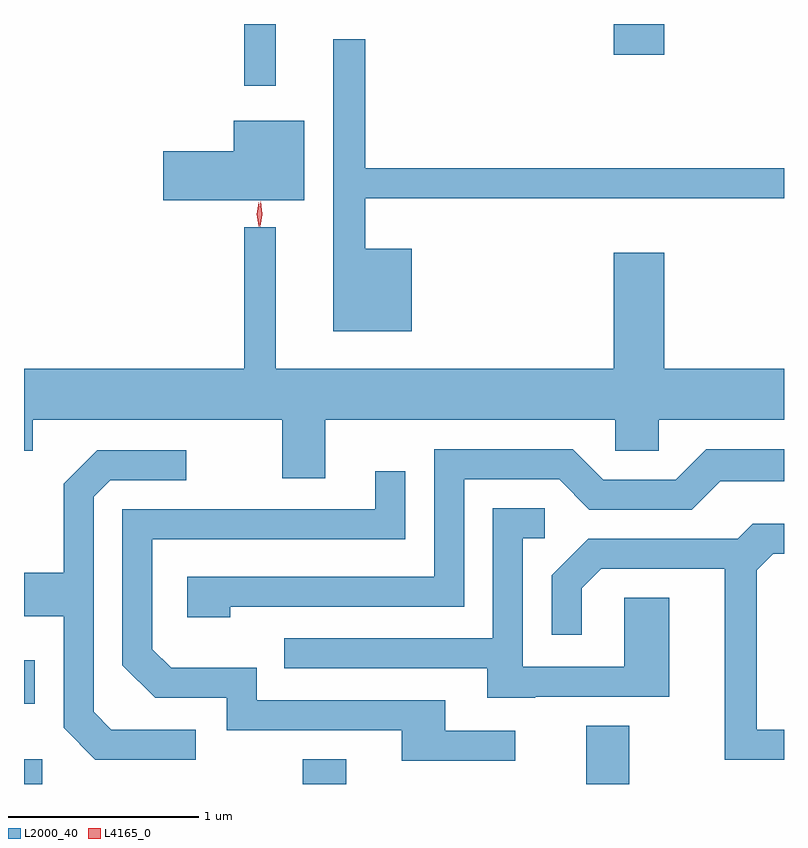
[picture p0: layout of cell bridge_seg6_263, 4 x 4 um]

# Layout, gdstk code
import gdstk
lib = gdstk.Library(unit=1e-6, precision=1e-09)
def R(c, l, rs):  # rectangles x0, y0, x1, y1
    for r in rs: c.add(gdstk.rectangle(r[:2], r[2:], *l))
def P(c, l, *ps):  # polygons
    for p in ps: c.add(gdstk.Polygon(p, *l))
L2000_40 = (2000, 40)
L4165_0 = (4165, 0)

bridge_seg6_263 = lib.new_cell('bridge_seg6_263')
R(bridge_seg6_263, L2000_40, [(1270.913,1574.758,1271.009,1574.889), (1272.381,1574.758,1272.609,1574.889), (1273.871,1574.758,1274.099,1575.064), (1270.913,1575.181,1270.969,1575.409), (1272.071,1578.433,1272.239,1578.758), (1274.016,1578.596,1274.284,1578.758)])
P(bridge_seg6_263, L2000_40, [(1272.954,1577.574),(1272.709,1577.574),(1272.709,1577.841),(1274.913,1577.841),(1274.913,1577.999),(1272.709,1577.999),(1272.709,1578.678),(1272.541,1578.678),(1272.541,1577.141),(1272.954,1577.141)],
  [(1272.389,1578.249),(1272.016,1578.249),(1272.016,1578.089),(1271.646,1578.089),(1271.646,1577.831),(1272.389,1577.831)],
  [(1272.499,1576.676),(1274.026,1576.676),(1274.026,1576.511),(1274.254,1576.511),(1274.254,1576.676),(1274.913,1576.676),(1274.913,1576.944),(1274.284,1576.944),(1274.284,1577.554),(1274.016,1577.554),(1274.016,1576.944),(1272.239,1576.944),(1272.239,1577.688),(1272.071,1577.688),(1272.071,1576.944),(1270.913,1576.944),(1270.913,1576.511),(1270.959,1576.511),(1270.959,1576.676),(1272.271,1576.676),(1272.271,1576.366),(1272.499,1576.366)],
  [(1271.999,1575.691),(1273.229,1575.691),(1273.229,1576.361),(1273.729,1576.361),(1273.889,1576.201),(1274.427,1576.201),(1274.577,1576.351),(1274.913,1576.351),(1274.913,1576.519),(1274.504,1576.519),(1274.344,1576.359),(1273.962,1576.359),(1273.802,1576.519),(1273.071,1576.519),(1273.071,1575.849),(1271.771,1575.849),(1271.771,1575.636),(1271.999,1575.636)],
  [(1271.818,1575.044),(1271.372,1575.044),(1271.279,1575.137),(1271.279,1576.269),(1271.367,1576.356),(1271.768,1576.356),(1271.768,1576.514),(1271.299,1576.514),(1271.121,1576.337),(1271.121,1575.869),(1270.913,1575.869),(1270.913,1575.641),(1271.121,1575.641),(1271.121,1575.054),(1271.289,1574.886),(1271.818,1574.886)],
  [(1273.498,1575.039),(1273.129,1575.039),(1273.129,1575.199),(1272.139,1575.199),(1272.139,1575.369),(1271.687,1575.369),(1271.589,1575.467),(1271.589,1576.046),(1272.919,1576.046),(1272.919,1576.403),(1272.761,1576.403),(1272.761,1576.204),(1271.431,1576.204),(1271.431,1575.384),(1271.604,1575.211),(1271.981,1575.211),(1271.981,1575.041),(1272.901,1575.041),(1272.901,1574.881),(1273.498,1574.881)],
  [(1273.605,1575.216),(1274.309,1575.216),(1274.309,1575.739),(1274.071,1575.739),(1274.071,1575.374),(1273.539,1575.374),(1273.539,1576.051),(1273.653,1576.051),(1273.653,1576.209),(1273.381,1576.209),(1273.381,1575.524),(1272.283,1575.524),(1272.283,1575.366),(1273.351,1575.366),(1273.351,1575.211),(1273.605,1575.211)],
  [(1274.913,1575.044),(1274.769,1575.044),(1274.769,1575.884),(1274.857,1575.971),(1274.913,1575.971),(1274.913,1576.129),(1274.749,1576.129),(1274.669,1576.049),(1273.884,1576.049),(1273.691,1575.857),(1273.691,1575.543),(1273.849,1575.543),(1273.849,1575.789),(1273.952,1575.891),(1274.601,1575.891),(1274.601,1574.886),(1274.913,1574.886)])
P(bridge_seg6_263, L4165_0, [(1272.149,1577.693),(1272.149,1577.694),(1272.139,1577.756),(1272.148,1577.819),(1272.149,1577.82),(1272.149,1577.819),(1272.159,1577.756),(1272.15,1577.694)],
  [(1272.156,1577.69),(1272.148,1577.758),(1272.158,1577.825),(1272.158,1577.826),(1272.159,1577.825),(1272.168,1577.758),(1272.157,1577.69),(1272.157,1577.69)])

lib.write_gds('bridge_seg6_263.gds')
